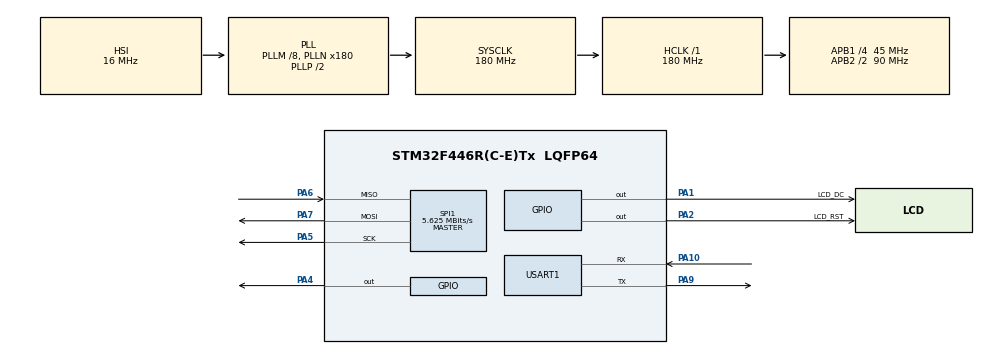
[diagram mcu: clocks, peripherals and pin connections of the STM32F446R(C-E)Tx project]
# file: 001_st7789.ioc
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Dma.Request0=SPI1_RX
Dma.Request1=SPI1_TX
Dma.SPI1_RX.0.Direction=DMA_PERIPH_TO_MEMORY
Dma.SPI1_RX.0.FIFOMode=DMA_FIFOMODE_DISABLE
Dma.SPI1_RX.0.Instance=DMA2_Stream0
Dma.SPI1_RX.0.MemDataAlignment=DMA_MDATAALIGN_BYTE
Dma.SPI1_RX.0.MemInc=DMA_MINC_ENABLE
Dma.SPI1_RX.0.Mode=DMA_NORMAL
Dma.SPI1_RX.0.PeriphDataAlignment=DMA_PDATAALIGN_BYTE
Dma.SPI1_RX.0.PeriphInc=DMA_PINC_DISABLE
Dma.SPI1_RX.0.Priority=DMA_PRIORITY_LOW
Dma.SPI1_TX.1.Direction=DMA_MEMORY_TO_PERIPH
Dma.SPI1_TX.1.FIFOMode=DMA_FIFOMODE_DISABLE
Dma.SPI1_TX.1.Instance=DMA2_Stream3
Dma.SPI1_TX.1.MemDataAlignment=DMA_MDATAALIGN_BYTE
Dma.SPI1_TX.1.MemInc=DMA_MINC_ENABLE
Dma.SPI1_TX.1.Mode=DMA_NORMAL
Dma.SPI1_TX.1.PeriphDataAlignment=DMA_PDATAALIGN_BYTE
Dma.SPI1_TX.1.PeriphInc=DMA_PINC_DISABLE
Dma.SPI1_TX.1.Priority=DMA_PRIORITY_LOW
Mcu.Family=STM32F4
Mcu.Name=STM32F446R(C-E)Tx
Mcu.Package=LQFP64
NVIC.DMA2_Stream0_IRQn=true\:0\:0\:false\:false\:true\:false\:true\:true
NVIC.DMA2_Stream3_IRQn=true\:0\:0\:false\:false\:true\:false\:true\:true
NVIC.PriorityGroup=NVIC_PRIORITYGROUP_4
NVIC.SPI1_IRQn=true\:0\:0\:false\:false\:true\:true\:true\:true
NVIC.USART1_IRQn=true\:0\:0\:false\:false\:true\:true\:true\:true
PA1.GPIO_Label=LCD_DC
PA1.Signal=GPIO_Output
PA10.Mode=Asynchronous
PA10.Signal=USART1_RX
PA2.GPIO_Label=LCD_RST
PA2.Signal=GPIO_Output
PA4.Signal=GPIO_Output
PA5.Mode=Full_Duplex_Master
PA5.Signal=SPI1_SCK
PA6.Mode=Full_Duplex_Master
PA6.Signal=SPI1_MISO
PA7.Mode=Full_Duplex_Master
PA7.Signal=SPI1_MOSI
PA9.Mode=Asynchronous
PA9.Signal=USART1_TX
ProjectManager.HeapSize=0x200
ProjectManager.StackSize=0x400
ProjectManager.TargetToolchain=STM32CubeIDE
RCC.AHBFreq_Value=180000000
RCC.APB1CLKDivider=RCC_HCLK_DIV4
RCC.APB1Freq_Value=45000000
RCC.APB1TimFreq_Value=90000000
RCC.APB2CLKDivider=RCC_HCLK_DIV2
RCC.APB2Freq_Value=90000000
RCC.APB2TimFreq_Value=180000000
RCC.CortexFreq_Value=180000000
RCC.HCLKFreq_Value=180000000
RCC.PLLM=8
RCC.PLLN=180
RCC.SYSCLKFreq_VALUE=180000000
RCC.SYSCLKSource=RCC_SYSCLKSOURCE_PLLCLK
RCC.USBFreq_Value=180000000
RCC.VCOOutputFreq_Value=360000000
SPI1.BaudRatePrescaler=SPI_BAUDRATEPRESCALER_16
SPI1.CalculateBaudRate=5.625 MBits/s
SPI1.Direction=SPI_DIRECTION_2LINES
SPI1.Mode=SPI_MODE_MASTER
SPI1.VirtualType=VM_MASTER
USART1.VirtualMode=VM_ASYNC
board=custom

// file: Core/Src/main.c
/* USER CODE BEGIN Header */
/**
  ******************************************************************************
  * @file           : main.c
  * @brief          : Main program body
  ******************************************************************************
  * @attention
  *
  * Copyright (c) 2025 STMicroelectronics.
  * All rights reserved.
  *
  * This software is licensed under terms that can be found in the LICENSE file
  * in the root directory of this software component.
  * If no LICENSE file comes with this software, it is provided AS-IS.
  *
  ******************************************************************************
  */
/* USER CODE END Header */
#include "main.h"

/* USER CODE BEGIN Includes */
#include "driver_st7789.h"
#include "driver_st7789_interface.h"
#include <stdlib.h>
/* USER CODE END Includes */

SPI_HandleTypeDef hspi1;
DMA_HandleTypeDef hdma_spi1_rx;
DMA_HandleTypeDef hdma_spi1_tx;

UART_HandleTypeDef huart1;

/* USER CODE BEGIN PV */
st7789_handle_t st7789_handle;
/* USER CODE END PV */

void SystemClock_Config(void);
static void MX_GPIO_Init(void);
static void MX_DMA_Init(void);
static void MX_SPI1_Init(void);
static void MX_USART1_UART_Init(void);

int main(void)
{

  /* USER CODE BEGIN 1 */

	char test_str3[] ="TEST ST7789 + STM32";

  /* USER CODE END 1 */

  /* MCU Configuration--------------------------------------------------------*/

  /* Reset of all peripherals, Initializes the Flash interface and the Systick. */
  HAL_Init();

  /* Configure the system clock */
  SystemClock_Config();

  /* Initialize all configured peripherals */
  MX_GPIO_Init();
  MX_DMA_Init();
  MX_SPI1_Init();
  MX_USART1_UART_Init();
  /* USER CODE BEGIN 2 */
  st7789_interface_debug_print("Starting ST7789 initialization...\r\n");

  st7789_handle_t gs_handle;
  uint8_t res;

  // Link interface functions
  DRIVER_ST7789_LINK_INIT(&gs_handle, st7789_handle_t);
  DRIVER_ST7789_LINK_SPI_INIT(&gs_handle, st7789_interface_spi_init);
  DRIVER_ST7789_LINK_SPI_DEINIT(&gs_handle, st7789_interface_spi_deinit);
  DRIVER_ST7789_LINK_SPI_WRITE_COMMAND(&gs_handle, st7789_interface_spi_write_cmd);
  DRIVER_ST7789_LINK_COMMAND_DATA_GPIO_INIT(&gs_handle, st7789_interface_cmd_data_gpio_init);
  DRIVER_ST7789_LINK_COMMAND_DATA_GPIO_DEINIT(&gs_handle, st7789_interface_cmd_data_gpio_deinit);
  DRIVER_ST7789_LINK_COMMAND_DATA_GPIO_WRITE(&gs_handle, st7789_interface_cmd_data_gpio_write);
  DRIVER_ST7789_LINK_RESET_GPIO_INIT(&gs_handle, st7789_interface_reset_gpio_init);
  DRIVER_ST7789_LINK_RESET_GPIO_DEINIT(&gs_handle, st7789_interface_reset_gpio_deinit);
  DRIVER_ST7789_LINK_RESET_GPIO_WRITE(&gs_handle, st7789_interface_reset_gpio_write);
  DRIVER_ST7789_LINK_DELAY_MS(&gs_handle, st7789_interface_delay_ms);
  DRIVER_ST7789_LINK_DEBUG_PRINT(&gs_handle, st7789_interface_debug_print);

  // Initialize the display
  st7789_interface_debug_print("Calling st7789_init()...\r\n");
  res = st7789_init(&gs_handle);
  if (res != 0)
  {
      st7789_interface_debug_print("ST7789 init failed: %d\r\n", res);
      Error_Handler();
  }

  // wait
  st7789_interface_delay_ms(120);
  // turn on the display
  st7789_display_on(&gs_handle);

  // set display parameters (240x240 for 1.54" ST7789)
  st7789_interface_debug_print("Setting display size to 240x240...\r\n");
  res = st7789_set_column(&gs_handle, 240);
  if (res != 0)
  {
      st7789_interface_debug_print("st7789: set column failed.\n");
      Error_Handler();
  }

  res = st7789_set_row(&gs_handle, 240);
  if (res != 0)
  {
	  st7789_interface_debug_print("st7789: set row failed.\n");
	  Error_Handler();
  }

  /* sleep out */
  res = st7789_sleep_out(&gs_handle);
  if (res != 0)
  {
      st7789_interface_debug_print("st7789: sleep out failed.\n");
      Error_Handler();
  }

  /* idle mode off */
  res = st7789_idle_mode_off(&gs_handle);
  if (res != 0)
  {
      st7789_interface_debug_print("st7789: idle mode off failed.\n");
      Error_Handler();
  }

  /* normal display mode on */
  res = st7789_normal_display_mode_on(&gs_handle);
  if (res != 0)
  {
      st7789_interface_debug_print("st7789: normal display mode on failed.\n");
      (void)st7789_deinit(&gs_handle);

      return 1;
  }

  /* display inversion on */
  res = st7789_display_inversion_on(&gs_handle);
  if (res != 0)
  {
      st7789_interface_debug_print("st7789: display inversion on failed.\n");
      Error_Handler();
  }

  /* set gamma */
  res = st7789_set_gamma(&gs_handle, ST7789_GAMMA_CURVE_1);
  if (res != 0)
  {
      st7789_interface_debug_print("st7789: set gamma failed.\n");
      Error_Handler();
  }

  /* set memory data access control */
  res = st7789_set_memory_data_access_control(&gs_handle, ST7789_ORDER_PAGE_TOP_TO_BOTTOM | ST7789_ORDER_COLUMN_LEFT_TO_RIGHT |
                                                          ST7789_ORDER_PAGE_COLUMN_NORMAL | ST7789_ORDER_LINE_TOP_TO_BOTTOM |
                                                          ST7789_ORDER_COLOR_RGB | ST7789_ORDER_REFRESH_LEFT_TO_RIGHT);
  if (res != 0)
  {
      st7789_interface_debug_print("st7789: set memory data access control failed.\n");
      Error_Handler();
  }

  // set pixel format to RGB565 (16-bit color)
  st7789_interface_debug_print("Setting pixel format to RGB565...\r\n");
  res = st7789_set_interface_pixel_format(&gs_handle, ST7789_RGB_INTERFACE_COLOR_FORMAT_262K, ST7789_CONTROL_INTERFACE_COLOR_FORMAT_16_BIT);
  if (res != 0)
  {
      st7789_interface_debug_print("ST7789 set pixel format failed: %d\r\n", res);
      Error_Handler();
  }

  res = st7789_set_display_brightness(&gs_handle, 0xFF);
  if (res != 0)
  {
      st7789_interface_debug_print("st7789: set display brightness failed.\n");
      Error_Handler();
  }

  /* disable brightness control */
  res = st7789_set_display_control(&gs_handle, ST7789_BOOL_FALSE, ST7789_BOOL_FALSE, ST7789_BOOL_FALSE);
  if (res != 0)
  {
      st7789_interface_debug_print("st7789: set display control failed.\n");
      Error_Handler();
  }

  /* enable color enhancement */
  res = st7789_set_brightness_control_and_color_enhancement(&gs_handle, ST7789_BOOL_TRUE,
                                                            ST7789_COLOR_ENHANCEMENT_MODE_USER_INTERFACE, ST7789_COLOR_ENHANCEMENT_LEVEL_HIGH);
  if (res != 0)
  {
      st7789_interface_debug_print("st7789: set brightness control and color enhancement failed.\n");
      Error_Handler();
  }

  /* set 0x00 */
  res = st7789_set_cabc_minimum_brightness(&gs_handle, 0x00);
  if (res != 0)
  {
      st7789_interface_debug_print("st7789: set cabc minimum brightness failed.\n");
      Error_Handler();
  }

  st7789_interface_debug_print("Turning display on...\r\n");
  res = st7789_display_on(&gs_handle);
  if (res != 0)
  {
      st7789_interface_debug_print("ST7789 display on failed: %d\r\n", res);
      Error_Handler();
  }

  // Set memory access control (orientation and color order)
  res = st7789_set_ram_control(&gs_handle,
                               ST7789_RAM_ACCESS_MCU,
                               ST7789_DISPLAY_MODE_MCU,
                               ST7789_FRAME_TYPE_0,
                               ST7789_DATA_MODE_MSB,
                               ST7789_RGB_BUS_WIDTH_18_BIT,
                               ST7789_PIXEL_TYPE_0);
  if (res != 0)
  {
      st7789_interface_debug_print("st7789: set ram control failed.\n");

      return 1;
  }

  // Clear the display
  st7789_interface_debug_print("Clearing display...\r\n");
  res = st7789_clear(&gs_handle);
  if (res != 0)
  {
      st7789_interface_debug_print("ST7789 clear failed: %d\r\n", res);
  }

  st7789_interface_debug_print("ST7789 initialized successfully!\r\n");
  /* USER CODE END 2 */

  /* Infinite loop */
  while (1)
  {

    /* USER CODE BEGIN 3 */
	    /* rand point test */
	    st7789_interface_debug_print("st7789: rand point test.\n");

	    for (int i = 0; i < 240; i++)
	    {
	        for (int j = 0; j < 240; j++)
	        {
	            if ((rand() % 2) != 0)
	            {
	                res = st7789_draw_point(&gs_handle, i, j, 0xFFFFU);
	                if (res != 0)
	                {
	                    st7789_interface_debug_print("st7789: draw point failed.\n");

	                    return 1;
	                }
	            }
	        }
	    }

	    /* delay 1000ms */
	    st7789_interface_delay_ms(1000);

	    /* clear */
	    res = st7789_clear(&gs_handle);
	    if (res != 0)
	    {
	        st7789_interface_debug_print("st7789: clear failed.\n");

	        return 1;
	    }

	    /* write string */
	    res = st7789_write_string(&gs_handle, 20, 100, test_str3, (uint16_t)strlen(test_str3), 0xFFFFU, ST7789_FONT_16);
	    if (res != 0)
	    {
	        st7789_interface_debug_print("st7789: write string failed.\n");
	        (void)st7789_deinit(&gs_handle);

	        return 1;
	    }

	    /* delay 1000ms */
	    st7789_interface_delay_ms(1000);

	    /* clear */
	    res = st7789_clear(&gs_handle);
	    if (res != 0)
	    {
	        st7789_interface_debug_print("st7789: clear failed.\n");

	        return 1;
	    }

  }
  /* USER CODE END 3 */
}

void SystemClock_Config(void)
{
  RCC_OscInitTypeDef RCC_OscInitStruct = {0};
  RCC_ClkInitTypeDef RCC_ClkInitStruct = {0};

  /** Configure the main internal regulator output voltage
  */
  __HAL_RCC_PWR_CLK_ENABLE();
  __HAL_PWR_VOLTAGESCALING_CONFIG(PWR_REGULATOR_VOLTAGE_SCALE1);

  /** Initializes the RCC Oscillators according to the specified parameters
  * in the RCC_OscInitTypeDef structure.
  */
  RCC_OscInitStruct.OscillatorType = RCC_OSCILLATORTYPE_HSI;
  RCC_OscInitStruct.HSIState = RCC_HSI_ON;
  RCC_OscInitStruct.HSICalibrationValue = RCC_HSICALIBRATION_DEFAULT;
  RCC_OscInitStruct.PLL.PLLState = RCC_PLL_ON;
  RCC_OscInitStruct.PLL.PLLSource = RCC_PLLSOURCE_HSI;
  RCC_OscInitStruct.PLL.PLLM = 8;
  RCC_OscInitStruct.PLL.PLLN = 180;
  RCC_OscInitStruct.PLL.PLLP = RCC_PLLP_DIV2;
  RCC_OscInitStruct.PLL.PLLQ = 2;
  RCC_OscInitStruct.PLL.PLLR = 2;
  if (HAL_RCC_OscConfig(&RCC_OscInitStruct) != HAL_OK)
  {
    Error_Handler();
  }

  /** Activate the Over-Drive mode
  */
  if (HAL_PWREx_EnableOverDrive() != HAL_OK)
  {
    Error_Handler();
  }

  /** Initializes the CPU, AHB and APB buses clocks
  */
  RCC_ClkInitStruct.ClockType = RCC_CLOCKTYPE_HCLK|RCC_CLOCKTYPE_SYSCLK
                              |RCC_CLOCKTYPE_PCLK1|RCC_CLOCKTYPE_PCLK2;
  RCC_ClkInitStruct.SYSCLKSource = RCC_SYSCLKSOURCE_PLLCLK;
  RCC_ClkInitStruct.AHBCLKDivider = RCC_SYSCLK_DIV1;
  RCC_ClkInitStruct.APB1CLKDivider = RCC_HCLK_DIV4;
  RCC_ClkInitStruct.APB2CLKDivider = RCC_HCLK_DIV2;

  if (HAL_RCC_ClockConfig(&RCC_ClkInitStruct, FLASH_LATENCY_5) != HAL_OK)
  {
    Error_Handler();
  }
}

static void MX_SPI1_Init(void)
{

  /* SPI1 parameter configuration*/
  hspi1.Instance = SPI1;
  hspi1.Init.Mode = SPI_MODE_MASTER;
  hspi1.Init.Direction = SPI_DIRECTION_2LINES;
  hspi1.Init.DataSize = SPI_DATASIZE_8BIT;
  hspi1.Init.CLKPolarity = SPI_POLARITY_LOW;
  hspi1.Init.CLKPhase = SPI_PHASE_1EDGE;
  hspi1.Init.NSS = SPI_NSS_SOFT;
  hspi1.Init.BaudRatePrescaler = SPI_BAUDRATEPRESCALER_16;
  hspi1.Init.FirstBit = SPI_FIRSTBIT_MSB;
  hspi1.Init.TIMode = SPI_TIMODE_DISABLE;
  hspi1.Init.CRCCalculation = SPI_CRCCALCULATION_DISABLE;
  hspi1.Init.CRCPolynomial = 10;
  if (HAL_SPI_Init(&hspi1) != HAL_OK)
  {
    Error_Handler();
  }

}

static void MX_USART1_UART_Init(void)
{

  huart1.Instance = USART1;
  huart1.Init.BaudRate = 115200;
  huart1.Init.WordLength = UART_WORDLENGTH_8B;
  huart1.Init.StopBits = UART_STOPBITS_1;
  huart1.Init.Parity = UART_PARITY_NONE;
  huart1.Init.Mode = UART_MODE_TX_RX;
  huart1.Init.HwFlowCtl = UART_HWCONTROL_NONE;
  huart1.Init.OverSampling = UART_OVERSAMPLING_16;
  if (HAL_UART_Init(&huart1) != HAL_OK)
  {
    Error_Handler();
  }

}

static void MX_DMA_Init(void)
{

  /* DMA controller clock enable */
  __HAL_RCC_DMA2_CLK_ENABLE();

  /* DMA interrupt init */
  /* DMA2_Stream0_IRQn interrupt configuration */
  HAL_NVIC_SetPriority(DMA2_Stream0_IRQn, 0, 0);
  HAL_NVIC_EnableIRQ(DMA2_Stream0_IRQn);
  /* DMA2_Stream3_IRQn interrupt configuration */
  HAL_NVIC_SetPriority(DMA2_Stream3_IRQn, 0, 0);
  HAL_NVIC_EnableIRQ(DMA2_Stream3_IRQn);

}

static void MX_GPIO_Init(void)
{
  GPIO_InitTypeDef GPIO_InitStruct = {0};

  /* GPIO Ports Clock Enable */
  __HAL_RCC_GPIOA_CLK_ENABLE();

  /*Configure GPIO pin Output Level */
  HAL_GPIO_WritePin(GPIOA, LCD_DC_Pin|LCD_RST_Pin|GPIO_PIN_4, GPIO_PIN_RESET);

  /*Configure GPIO pins : LCD_DC_Pin LCD_RST_Pin PA4 */
  GPIO_InitStruct.Pin = LCD_DC_Pin|LCD_RST_Pin|GPIO_PIN_4;
  GPIO_InitStruct.Mode = GPIO_MODE_OUTPUT_PP;
  GPIO_InitStruct.Pull = GPIO_NOPULL;
  GPIO_InitStruct.Speed = GPIO_SPEED_FREQ_LOW;
  HAL_GPIO_Init(GPIOA, &GPIO_InitStruct);

}

void Error_Handler(void)
{
  __disable_irq();
  while (1)
  {
  }
}
